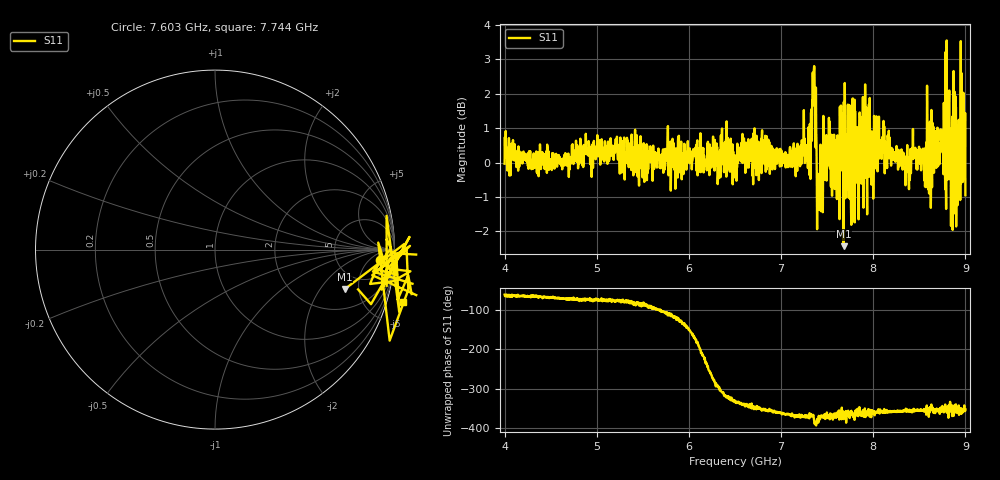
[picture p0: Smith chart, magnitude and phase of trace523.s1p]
! Created with skrf 1.8.0 (http://scikit-rf.org).
# Hz S RI R 50.0
!freq ReS11 ImS11
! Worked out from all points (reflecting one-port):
!   1601 points, 4 GHz to 9 GHz, reference 50 ohm
!   lowest |S11| = -2.4 dB at 7.678 GHz (marker M1), VSWR 7.19, Z = 171 - j176 ohm
!   phase of S11 starts at -60 deg and turns -293 deg over the sweep
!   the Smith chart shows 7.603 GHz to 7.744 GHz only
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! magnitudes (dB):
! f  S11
! 4 GHz  0.0
! 4.625 GHz  -0.2
! 4.894 GHz  0.3
! 5.25 GHz  -0.3
! 5.875 GHz  0.4
! 6.5 GHz  0.0
! 7.125 GHz  0.3
! 7.297 GHz  1.0
! 7.356 GHz  2.7
! 7.412 GHz  -1.0
! 7.512 GHz  0.2
! 7.609 GHz  0.1
! 7.669 GHz  1.2
! 7.678 GHz  -2.4
! 7.75 GHz  -1.1
! 7.938 GHz  1.1
! 7.981 GHz  -0.6
! 8.119 GHz  1.1
! 8.375 GHz  0.1
! 8.441 GHz  0.2
! 8.612 GHz  1.0
! 8.759 GHz  0.8
! 8.822 GHz  1.8
! 8.856 GHz  0.0
! 8.872 GHz  2.7
! 8.919 GHz  -0.9
! 8.972 GHz  -0.6
! 9 GHz  -0.9
